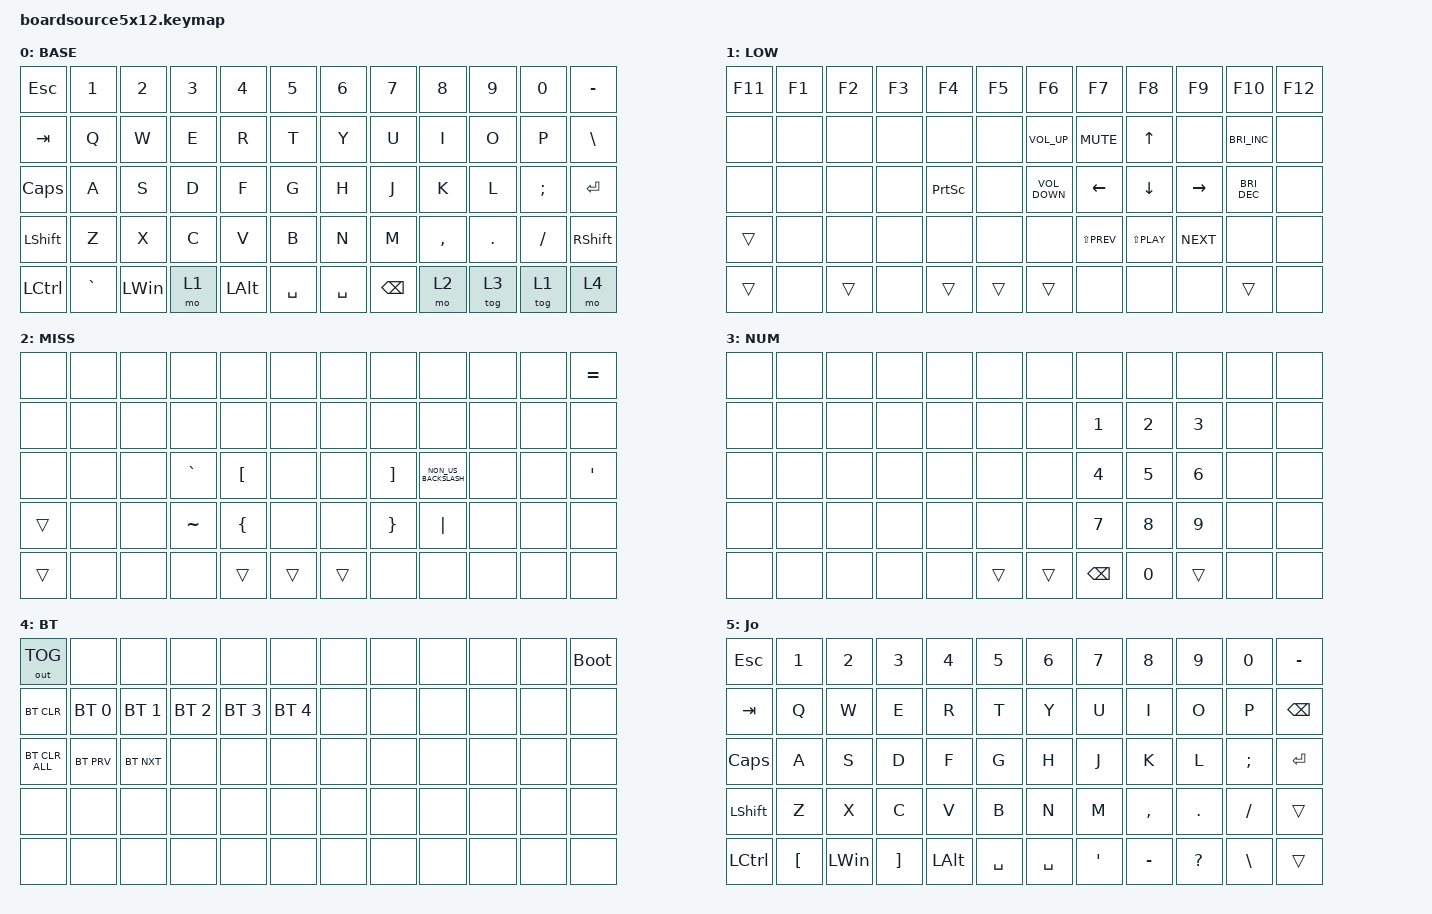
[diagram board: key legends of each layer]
/*
 * Copyright (c) 2021 The ZMK Contributors
 *
 * SPDX-License-Identifier: MIT
 */
#define ZMK_BEHAVIORS_OMIT_KT

#include <behaviors.dtsi>
#include <dt-bindings/zmk/bt.h>
#include <dt-bindings/zmk/keys.h>
#include <dt-bindings/zmk/outputs.h>

/ {
    keymap {
        compatible = "zmk,keymap";

        JassonLayout {
            display-name = "BASE";
            bindings = <
&kp ESC           &kp N1     &kp N2        &kp N3  &kp N4        &kp N5     &kp N6     &kp N7         &kp N8     &kp N9   &kp N0    &kp MINUS
&kp TAB           &kp Q      &kp W         &kp E   &kp R         &kp T      &kp Y      &kp U          &kp I      &kp O    &kp P     &kp BSLH
&kp CAPSLOCK      &kp A      &kp S         &kp D   &kp F         &kp G      &kp H      &kp J          &kp K      &kp L    &kp SEMI  &kp ENTER
&kp LEFT_SHIFT    &kp Z      &kp X         &kp C   &kp V         &kp B      &kp N      &kp M          &kp COMMA  &kp DOT  &kp FSLH  &kp RIGHT_SHIFT
&kp LEFT_CONTROL  &kp GRAVE  &kp LEFT_WIN  &mo 1   &kp LEFT_ALT  &kp SPACE  &kp SPACE  &kp BACKSPACE  &mo 2      &tog 3   &tog 1    &mo 4
            >;
        };

        lower_layer {
            display-name = "LOW";
            bindings = <
&kp F11  &kp F1  &kp F2  &kp F3  &kp F4           &kp F5  &kp F6             &kp F7          &kp F8          &kp F9           &kp F10               &kp F12
&none    &none   &none   &none   &none            &none   &kp C_VOL_UP       &kp K_MUTE      &kp UP_ARROW    &none            &kp C_BRIGHTNESS_INC  &none
&none    &none   &none   &none   &kp PRINTSCREEN  &none   &kp C_VOLUME_DOWN  &kp LEFT_ARROW  &kp DOWN_ARROW  &kp RIGHT_ARROW  &kp C_BRIGHTNESS_DEC  &none
&trans   &none   &none   &none   &none            &none   &none              &kp LS(C_PREV)  &kp LS(C_PLAY)  &kp C_NEXT       &none                 &none
&trans   &none   &trans  &none   &trans           &trans  &trans             &none           &none           &none            &trans                &none
            >;
        };

        Missing {
            display-name = "MISS";
            bindings = <
&none   &none  &none  &none      &none             &none   &none   &none              &none                 &none  &none  &kp EQUAL
&none   &none  &none  &none      &none             &none   &none   &none              &none                 &none  &none  &none
&none   &none  &none  &kp GRAVE  &kp LEFT_BRACKET  &none   &none   &kp RIGHT_BRACKET  &kp NON_US_BACKSLASH  &none  &none  &kp SQT
&trans  &none  &none  &kp TILDE  &kp LEFT_BRACE    &none   &none   &kp RIGHT_BRACE    &kp PIPE              &none  &none  &none
&trans  &none  &none  &none      &trans            &trans  &trans  &none              &none                 &none  &none  &none
            >;
        };

        Numpad {
            display-name = "NUM";
            bindings = <
&none  &none  &none  &none  &none  &none   &none   &none          &none         &none         &none  &none
&none  &none  &none  &none  &none  &none   &none   &kp NUMBER_1   &kp NUMBER_2  &kp NUMBER_3  &none  &none
&none  &none  &none  &none  &none  &none   &none   &kp NUMBER_4   &kp NUMBER_5  &kp NUMBER_6  &none  &none
&none  &none  &none  &none  &none  &none   &none   &kp NUMBER_7   &kp NUMBER_8  &kp NUMBER_9  &none  &none
&none  &none  &none  &none  &none  &trans  &trans  &kp BACKSPACE  &kp NUMBER_0  &trans        &none  &none
            >;
        };

        Bluetooth {
            display-name = "BT";
            bindings = <
&out OUT_TOG    &none         &none         &none         &none         &none         &none  &none  &none  &none  &none  &bootloader
&bt BT_CLR      &bt BT_SEL 0  &bt BT_SEL 1  &bt BT_SEL 2  &bt BT_SEL 3  &bt BT_SEL 4  &none  &none  &none  &none  &none  &none
&bt BT_CLR_ALL  &bt BT_PRV    &bt BT_NXT    &none         &none         &none         &none  &none  &none  &none  &none  &none
&none           &none         &none         &none         &none         &none         &none  &none  &none  &none  &none  &none
&none           &none         &none         &none         &none         &none         &none  &none  &none  &none  &none  &none
            >;
        };

        JoannaLayer {
            display-name = "Jo";
            bindings = <
&kp ESC           &kp N1            &kp N2        &kp N3             &kp N4        &kp N5     &kp N6     &kp N7   &kp N8     &kp N9        &kp N0         &kp MINUS
&kp TAB           &kp Q             &kp W         &kp E              &kp R         &kp T      &kp Y      &kp U    &kp I      &kp O         &kp P          &kp BACKSPACE
&kp CAPSLOCK      &kp A             &kp S         &kp D              &kp F         &kp G      &kp H      &kp J    &kp K      &kp L         &kp SEMI       &kp ENTER
&kp LEFT_SHIFT    &kp Z             &kp X         &kp C              &kp V         &kp B      &kp N      &kp M    &kp COMMA  &kp DOT       &kp SLASH      &trans
&kp LEFT_CONTROL  &kp LEFT_BRACKET  &kp LEFT_WIN  &kp RIGHT_BRACKET  &kp LEFT_ALT  &kp SPACE  &kp SPACE  &kp SQT  &kp MINUS  &kp QUESTION  &kp BACKSLASH  &trans
            >;
        };

        extra_1 {
            status = "reserved";
        };

        extra_2 {
            status = "reserved";
        };

        extra_3 {
            status = "reserved";
        };

    };
};
